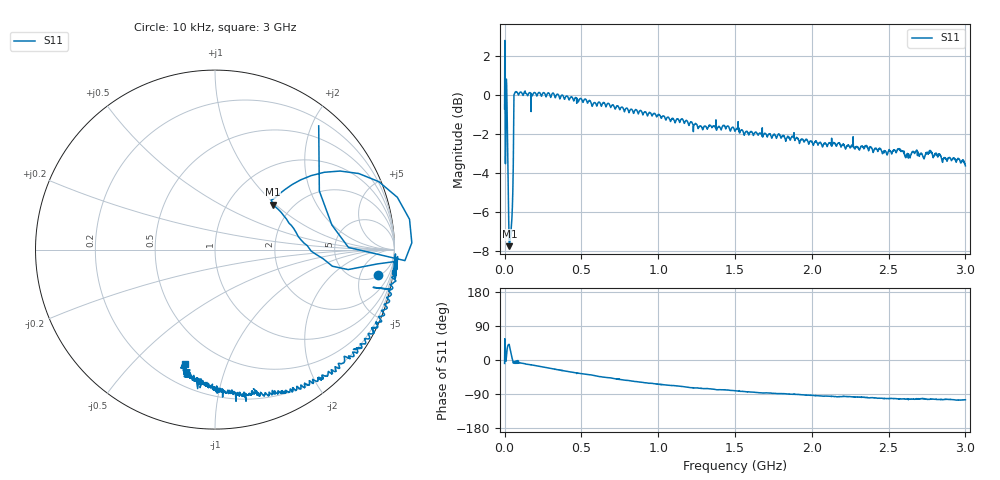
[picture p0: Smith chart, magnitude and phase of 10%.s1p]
# HZ S RI R 50
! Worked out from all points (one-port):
!   2020 points, 10 kHz to 3 GHz, reference 50 ohm
!   lowest |S11| = -7.8 dB at 31.21 MHz (marker M1), VSWR 2.38, Z = 79.9 + j48.1 ohm
!   |S11| at or under -10 dB: nowhere
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10000  0.909 -0.1438
5953516  0.651 0.1373
1.635467e7  0.8007 0.4239
1.932643e7  0.6083 0.4307
2.378406e7  0.4298 0.3624
2.675582e7  0.36 0.3114
3.121346e7  0.3228 0.2507
3.715698e7  0.3844 0.187
4.310049e7  0.4387 0.1174
5.350164e7  0.5645 -0.0275
6.39028e7  1.002 -0.0879
7.133219e7  1.014 -0.0678
7.578983e7  1.017 -0.0388
2.392365e8  0.9444 -0.3033
3.759374e8  0.8855 -0.4617
6.092204e8  0.6933 -0.656
7.503789e8  0.5727 -0.7144
9.554302e8  0.4244 -0.7841
1.126306e9  0.3166 -0.8068
1.224374e9  0.2423 -0.8073
1.500748e9  0.1264 -0.7966
1.662709e9  0.0492 -0.7968
1.875189e9  -0.00528 -0.7828
2.157506e9  -0.0864 -0.7366
2.251117e9  -0.086 -0.7262
2.625558e9  -0.1579 -0.6838
2.768203e9  -0.1686 -0.6937
3e9  -0.1697 -0.6348
